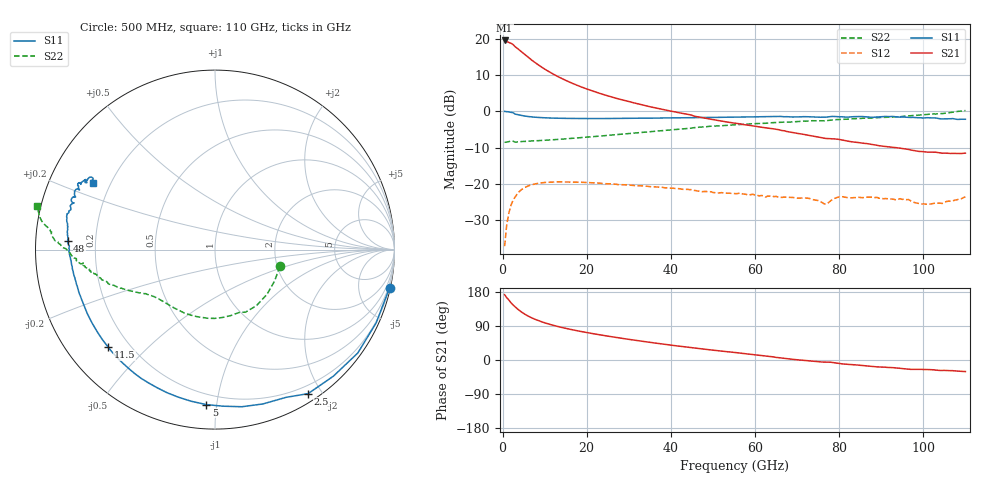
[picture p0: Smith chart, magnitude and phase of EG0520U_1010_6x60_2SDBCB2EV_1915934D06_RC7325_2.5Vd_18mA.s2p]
!File name = EG0520U_1010_6x60_2SDBCB2EV_1915934D06_RC7325_2.5Vd_18mA.s2p
!Base file name = EG0520U_1010_6x60_2SDBCB2EV_1915934D06_RC7325
!Date = 8/23/2019
!Time = 1:07 PM
!Test duration(min) = 0.15
!Test = S-Parameters
!MPTS version = 8.91.5
!State File = C:\Data\PNA\20190821205423\S-Parameters_2019-08-23.sta
!Cal File =
!ComputerName = CMPE-LAB-6
!Comments =
!Attenuation = 0
!Z0 = 50
!Input Power(dBm) = -13.00
!Device ID = EG0520U_1010_6x60_2SDBCB2EV
!Row = 73
!Column = 25
!Technology = QPHT09
!Lot/Wafer = 1915934D06
!Gate Size = 360
!Mask = EG0520
!Cal Standards = GaAs BCB
!Cal Kit = EG2306
!Job Number = 20190821205423
!Device Type = FET
!set_Vg(v) = -1.500
!set_Vd(v) = 2.500
!set_Vd(mA) = 18.000
!file_name = EG0520U_1010_6x60_2SDBCB2EV_1915934D06_RC7325_2.5Vd_18mA.s2p
!Vd(V) = 2.500
!Vd(mA) = 17.940
!Vg(V) = -0.631
!Vg(mA) = -0.002
# GHz  S  DB  R  50
!%	Freq(GHz)  s11(dB)  s11(deg)  s21(dB)  s21(deg)  s12(dB)  s12(deg)  s22(dB)  s22(deg)
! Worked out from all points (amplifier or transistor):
!   220 points, 500 MHz to 110 GHz, reference 50 ohm
!   highest |S21| = 19.5 dB at 500 MHz (marker M1)
!   |S21| within 3 dB of that: start of sweep to 4.371 GHz
!   unconditionally stable (mu >= 1): 42.15 GHz to 104.9 GHz
!   at 18.5 GHz: K = 0.44, MSG = 13.2 dB, |S12| = -19.5 dB
!   at 55.5 GHz: K = 1.28, MAG = 6.5 dB, |S12| = -22.7 dB
!   at 110 GHz: K = -1.25, MSG = 6.0 dB, |S12| = -23.6 dB
!   S11 on the Smith chart (normalised r, x): 500 MHz: 0.20, -9.28; 2.5 GHz: 0.10, -1.83; 5 GHz: 0.14, -0.94; 11.5 GHz: 0.12, -0.38; 48 GHz: 0.10, +0.03; 110 GHz: 0.13, +0.25
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0.5  -0.04 -12.3  19.49 172.4  -37.15 82.0  -8.55 -14.4
1  -0.12 -24.4  19.21 164.5  -31.31 75.4  -8.51 -27.9
2  -0.30 -46.9  18.73 151.2  -25.96 62.3  -8.21 -53.5
2.5  -0.40 -57.1  18.38 145.3  -24.50 56.8  -8.23 -64.0
3  -0.79 -64.3  17.77 140.2  -23.60 52.6  -8.51 -68.6
3.5  -0.91 -72.8  17.34 135.3  -22.75 48.2  -8.45 -76.6
4.5  -1.17 -87.1  16.36 126.6  -21.59 40.5  -8.33 -90.3
5  -1.26 -93.2  15.88 123.1  -21.19 37.3  -8.30 -96.0
6  -1.44 -104.0  14.94 116.4  -20.61 31.9  -8.25 -105.4
7.5  -1.62 -116.6  13.59 108.4  -20.07 25.4  -8.13 -115.8
9.5  -1.77 -128.7  11.99 100.1  -19.67 19.0  -8.03 -124.8
11.5  -1.87 -137.8  10.59 93.2  -19.51 14.1  -7.90 -131.3
14.5  -1.95 -147.6  8.79 84.8  -19.46 8.5  -7.65 -137.7
19  -2.01 -157.3  6.57 74.5  -19.57 2.4  -7.24 -143.4
27  -1.98 -167.9  3.57 59.5  -20.10 -4.6  -6.44 -149.5
37  -1.87 -176.1  0.77 43.6  -20.86 -9.8  -5.42 -154.9
48  -1.70 176.5  -1.87 28.5  -22.09 -14.1  -4.30 -161.4
55.5  -1.63 172.0  -3.32 19.4  -22.69 -16.1  -3.70 -165.2
73.5  -1.56 162.3  -6.79 -3.0  -24.24 -25.4  -2.61 -173.2
92  -1.48 154.0  -9.84 -19.8  -24.13 -34.0  -1.62 179.8
101  -1.78 152.7  -11.25 -25.2  -25.62 -35.5  -0.85 175.6
110  -2.21 151.3  -11.54 -30.5  -23.58 -32.1  0.19 166.3
